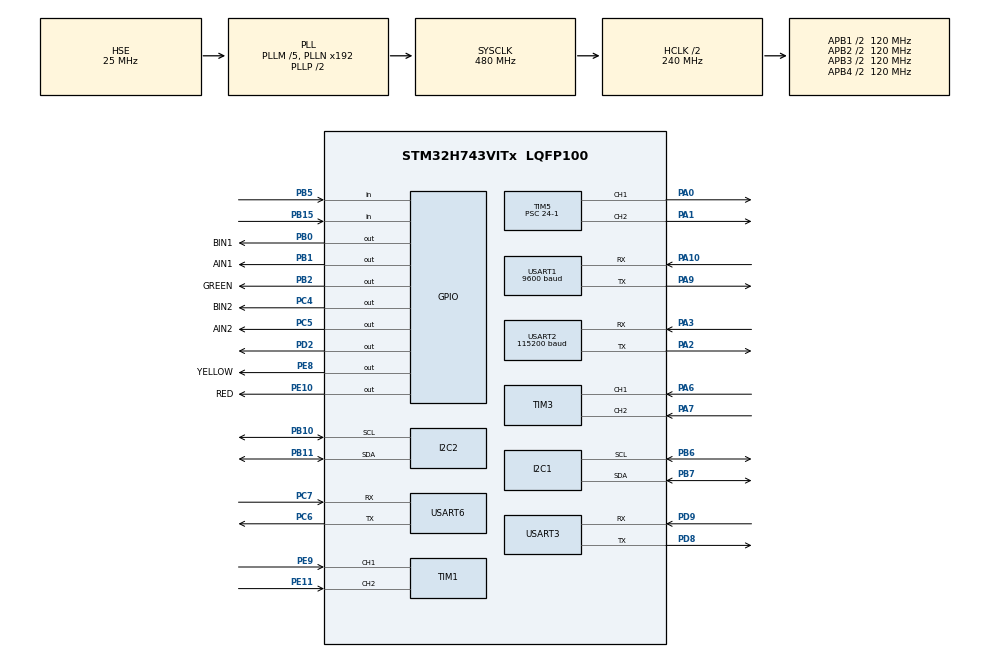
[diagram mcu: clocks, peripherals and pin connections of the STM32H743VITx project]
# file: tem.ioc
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CORTEX_M7.AccessPermission-Cortex_Memory_Protection_Unit_Region0_Settings=MPU_REGION_FULL_ACCESS
CORTEX_M7.AccessPermission-Cortex_Memory_Protection_Unit_Region1_Settings=MPU_REGION_FULL_ACCESS
CORTEX_M7.AccessPermission-Cortex_Memory_Protection_Unit_Region2_Settings=MPU_REGION_FULL_ACCESS
CORTEX_M7.AccessPermission-Cortex_Memory_Protection_Unit_Region3_Settings=MPU_REGION_FULL_ACCESS
CORTEX_M7.AccessPermission-Cortex_Memory_Protection_Unit_Region4_Settings=MPU_REGION_FULL_ACCESS
CORTEX_M7.BaseAddress-Cortex_Memory_Protection_Unit_Region0_Settings=0x24000000
CORTEX_M7.BaseAddress-Cortex_Memory_Protection_Unit_Region1_Settings=0x30000000
CORTEX_M7.BaseAddress-Cortex_Memory_Protection_Unit_Region2_Settings=0x30020000
CORTEX_M7.BaseAddress-Cortex_Memory_Protection_Unit_Region3_Settings=0x30040000
CORTEX_M7.BaseAddress-Cortex_Memory_Protection_Unit_Region4_Settings=0x38000000
CORTEX_M7.CPU_DCache=Enabled
CORTEX_M7.CPU_ICache=Enabled
CORTEX_M7.Enable-Cortex_Memory_Protection_Unit_Region0_Settings=MPU_REGION_ENABLE
CORTEX_M7.Enable-Cortex_Memory_Protection_Unit_Region1_Settings=MPU_REGION_ENABLE
CORTEX_M7.Enable-Cortex_Memory_Protection_Unit_Region2_Settings=MPU_REGION_ENABLE
CORTEX_M7.Enable-Cortex_Memory_Protection_Unit_Region3_Settings=MPU_REGION_ENABLE
CORTEX_M7.Enable-Cortex_Memory_Protection_Unit_Region4_Settings=MPU_REGION_ENABLE
CORTEX_M7.IsBufferable-Cortex_Memory_Protection_Unit_Region0_Settings=MPU_ACCESS_BUFFERABLE
CORTEX_M7.IsCacheable-Cortex_Memory_Protection_Unit_Region0_Settings=MPU_ACCESS_CACHEABLE
CORTEX_M7.MPU_Control=MPU_PRIVILEGED_DEFAULT
CORTEX_M7.Size-Cortex_Memory_Protection_Unit_Region0_Settings=MPU_REGION_SIZE_512KB
CORTEX_M7.Size-Cortex_Memory_Protection_Unit_Region1_Settings=MPU_REGION_SIZE_128KB
CORTEX_M7.Size-Cortex_Memory_Protection_Unit_Region2_Settings=MPU_REGION_SIZE_128KB
CORTEX_M7.Size-Cortex_Memory_Protection_Unit_Region3_Settings=MPU_REGION_SIZE_32KB
CORTEX_M7.Size-Cortex_Memory_Protection_Unit_Region4_Settings=MPU_REGION_SIZE_64KB
CORTEX_M7.TypeExtField-Cortex_Memory_Protection_Unit_Region0_Settings=MPU_TEX_LEVEL1
CORTEX_M7.TypeExtField-Cortex_Memory_Protection_Unit_Region1_Settings=MPU_TEX_LEVEL1
CORTEX_M7.TypeExtField-Cortex_Memory_Protection_Unit_Region2_Settings=MPU_TEX_LEVEL1
CORTEX_M7.TypeExtField-Cortex_Memory_Protection_Unit_Region3_Settings=MPU_TEX_LEVEL1
CORTEX_M7.TypeExtField-Cortex_Memory_Protection_Unit_Region4_Settings=MPU_TEX_LEVEL1
I2C1.Timing=0x307075B1
I2C2.Timing=0x307075B1
Mcu.Family=STM32H7
Mcu.Name=STM32H743VITx
Mcu.Package=LQFP100
NVIC.PriorityGroup=NVIC_PRIORITYGROUP_4
NVIC.TIM1_UP_IRQn=true\:0\:0\:false\:false\:true\:true\:true\:true
NVIC.TIM3_IRQn=true\:0\:0\:false\:false\:true\:true\:true\:true
NVIC.TIM7_IRQn=true\:0\:0\:false\:false\:true\:true\:true\:true
NVIC.USART1_IRQn=true\:0\:0\:false\:false\:true\:true\:true\:true
NVIC.USART2_IRQn=true\:0\:0\:false\:false\:true\:true\:true\:true
NVIC.USART3_IRQn=true\:0\:0\:false\:false\:true\:true\:true\:true
NVIC.USART6_IRQn=true\:0\:0\:false\:false\:true\:true\:true\:true
PA0.Signal=S_TIM5_CH1
PA1.Signal=S_TIM5_CH2
PA10.Mode=Asynchronous
PA10.Signal=USART1_RX
PA13\ (JTMS/SWDIO).Mode=Serial_Wire
PA13\ (JTMS/SWDIO).Signal=DEBUG_JTMS-SWDIO
PA14\ (JTCK/SWCLK).Mode=Serial_Wire
PA14\ (JTCK/SWCLK).Signal=DEBUG_JTCK-SWCLK
PA2.Mode=Asynchronous
PA2.Signal=USART2_TX
PA3.Mode=Asynchronous
PA3.Signal=USART2_RX
PA6.Signal=S_TIM3_CH1
PA7.Signal=S_TIM3_CH2
PA9.Mode=Asynchronous
PA9.Signal=USART1_TX
PB0.GPIO_Label=BIN1
PB0.Signal=GPIO_Output
PB1.GPIO_Label=AIN1
PB1.Signal=GPIO_Output
PB10.Mode=I2C
PB10.Signal=I2C2_SCL
PB11.Mode=I2C
PB11.Signal=I2C2_SDA
PB15.Signal=GPIO_Input
PB2.GPIO_Label=GREEN
PB2.Signal=GPIO_Output
PB5.Signal=GPIO_Input
PB6.Mode=I2C
PB6.Signal=I2C1_SCL
PB7.Mode=I2C
PB7.Signal=I2C1_SDA
PC4.GPIO_Label=BIN2
PC4.Signal=GPIO_Output
PC5.GPIO_Label=AIN2
PC5.Signal=GPIO_Output
PC6.Mode=Asynchronous
PC6.Signal=USART6_TX
PC7.Mode=Asynchronous
PC7.Signal=USART6_RX
PD2.Signal=GPIO_Output
PD8.Mode=Asynchronous
PD8.Signal=USART3_TX
PD9.Mode=Asynchronous
PD9.Signal=USART3_RX
PE10.GPIO_Label=RED
PE10.Signal=GPIO_Output
PE11.Signal=S_TIM1_CH2
PE8.GPIO_Label=YELLOW
PE8.Signal=GPIO_Output
PE9.Signal=S_TIM1_CH1
PH0-OSC_IN\ (PH0).Mode=HSE-External-Oscillator
PH0-OSC_IN\ (PH0).Signal=RCC_OSC_IN
PH1-OSC_OUT\ (PH1).Mode=HSE-External-Oscillator
PH1-OSC_OUT\ (PH1).Signal=RCC_OSC_OUT
ProjectManager.HeapSize=0x10000
ProjectManager.StackSize=0x7400
ProjectManager.TargetToolchain=MDK-ARM V5.32
RCC.ADCFreq_Value=50390625
RCC.APB1Freq_Value=120000000
RCC.APB2Freq_Value=120000000
RCC.APB3Freq_Value=120000000
RCC.APB4Freq_Value=120000000
RCC.CortexFreq_Value=480000000
RCC.D1PPRE=RCC_APB3_DIV2
RCC.D2PPRE1=RCC_APB1_DIV2
RCC.D2PPRE2=RCC_APB2_DIV2
RCC.D3PPRE=RCC_APB4_DIV2
RCC.DIVM1=5
RCC.DIVN1=192
RCC.HCLKFreq_Value=240000000
RCC.HPRE=RCC_HCLK_DIV2
RCC.HSE_VALUE=25000000
RCC.PLLSourceVirtual=RCC_PLLSOURCE_HSE
RCC.PWR_Regulator_Voltage_Scale=PWR_REGULATOR_VOLTAGE_SCALE0
RCC.ProductRev=revV
RCC.SYSCLKFreq_VALUE=480000000
RCC.SYSCLKSource=RCC_SYSCLKSOURCE_PLLCLK
RCC.USBFreq_Value=480000000
SH.S_TIM1_CH1.0=TIM1_CH1,Encoder_Interface
SH.S_TIM1_CH2.0=TIM1_CH2,Encoder_Interface
SH.S_TIM3_CH1.0=TIM3_CH1,Encoder_Interface
SH.S_TIM3_CH2.0=TIM3_CH2,Encoder_Interface
SH.S_TIM5_CH1.0=TIM5_CH1,PWM Generation1 CH1
SH.S_TIM5_CH2.0=TIM5_CH2,PWM Generation2 CH2
TIM5.Channel-PWM\ Generation1\ CH1=TIM_CHANNEL_1
TIM5.Channel-PWM\ Generation2\ CH2=TIM_CHANNEL_2
TIM5.Period=1000-1
TIM5.Prescaler=24-1
TIM6.Prescaler=240-1
TIM7.Prescaler=239
USART1.BaudRate=9600
USART1.VirtualMode-Asynchronous=VM_ASYNC
USART2.BaudRate=115200
USART2.VirtualMode-Asynchronous=VM_ASYNC
USART3.VirtualMode-Asynchronous=VM_ASYNC
USART6.VirtualMode=VM_ASYNC
VP_TIM5_VS_ClockSourceINT.Mode=Internal
VP_TIM6_VS_ClockSourceINT.Mode=Enable_Timer
VP_TIM7_VS_ClockSourceINT.Mode=Enable_Timer
board=custom

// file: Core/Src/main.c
/* USER CODE BEGIN Header */
/**
  ******************************************************************************
  * @file           : main.c
  * @brief          : Main program body
  ******************************************************************************
  * @attention
  *
  * Copyright (c) 2025 STMicroelectronics.
  * All rights reserved.
  *
  * This software is licensed under terms that can be found in the LICENSE file
  * in the root directory of this software component.
  * If no LICENSE file comes with this software, it is provided AS-IS.
  *
  ******************************************************************************
  */
/* USER CODE END Header */
#include "main.h"
#include "i2c.h"
#include "tim.h"
#include "usart.h"
#include "gpio.h"

/* USER CODE BEGIN Includes */
#include "AllHeader.h"
/* USER CODE END Includes */

/* USER CODE BEGIN PV */
//JY61Pďż??čşäťŞć°ćŽĺé
uint8_t GyroscopeUsart3RxBuffer[33];      //ćĽćśçźĺ­
double GyroscopeChannelData[10];
uint8_t tempBuffer=0,RxBuffer;
char message[256];
const float back_angle_cor = -1.6;//ďż˝ďż˝ďż˝Úžďż˝ďż˝ďż˝ďż˝ďż˝ďż˝ďż˝ďż˝Çľďż˝ĎľÍłďż˝ďż˝îŁŹďż˝ďż˝ďż˝ÇśČšďż˝ĐĄďż˝ďż˝ďż˝ďż˝Ęąďż˝ë˛ťďż˝ďż˝ďż˝ďż???
//ďż˝ďż˝ÎŞďż˝ďż˝ďż˝ďż˝ďż˝ďż˝ďż˝ďż˝ďż˝Ýąďż˝ďż˝ďż˝

/* USER CODE END PV */

void SystemClock_Config(void);
static void MPU_Initialize(void);
static void MPU_Config(void);

int main(void)
{

  /* Enable I-Cache---------------------------------------------------------*/
  SCB_EnableICache();

  /* Enable D-Cache---------------------------------------------------------*/
  SCB_EnableDCache();

  /* MCU Configuration--------------------------------------------------------*/

  /* Reset of all peripherals, Initializes the Flash interface and the Systick. */
  HAL_Init();

  /* MPU Configuration--------------------------------------------------------*/
  MPU_Config();

  /* Configure the system clock */
  SystemClock_Config();

  /* Initialize all configured peripherals */
  MX_GPIO_Init();
  MX_TIM7_Init();
  MX_USART1_UART_Init();
  MX_TIM1_Init();
  MX_TIM3_Init();
  MX_TIM5_Init();
  MX_TIM6_Init();
  MX_USART2_UART_Init();
  MX_USART3_UART_Init();
  MX_I2C1_Init();
  MX_USART6_UART_Init();
  MX_I2C2_Init();
  /* USER CODE BEGIN 2 */
	JY61P_Init(&huart2);
 	MECInit();
  uint32_t init_time = HAL_GetTick();
	//OLEDďż˝Äťďż˝ďż˝Ęźďż˝ďż???
	OLED_Init();
	OLED_Clear();
  float s =  0.0f;
  /* USER CODE END 2 */

  /* Infinite loop */
  /* USER CODE BEGIN WHILE */
  while (1)
  {
    UpdateData_Car(); // Update the car state with the latest sensor readings
    /* LSet(300);
    RSet(300);
    s += current_data.speed.linear_velocity * current_data.dt; // Update the distance traveled
    OLED_Clear(); // Clear the OLED display
  sprintf(message, "x: %.2f, y: %.2f, theta: %.2f, s: %.2f, v: %.2f, dt: %.2f",
          car.pose.x, car.pose.y, car.pose.theta);
  OLED_ShowString(0, 0, message, 8); // Display the car's pose on the OLED
 */
    if(runCircle(0.3, 0.3, 90, LEFT)) // Run a circle with radius 0.3m
     break; // Break the loop after running the circle
      HAL_Delay(5);
           /* float wz2 = getWz();
      sprintf(message, "yaw: %.2f, wz: %.2f, wz2: %.2f", current_data.yaw, current_data.speed.angular_velocity, wz2);
      OLED_ShowString(0, 0, message, 8); // Display the current yaw and angular velocity on the OLED

    /* USER CODE END WHILE */

    /* USER CODE BEGIN 3 */
	}
   sprintf(message, "x: %.2f, y: %.2f, theta: %.2f, s: %.2f, v: %.2f, dt: %.2f",
            car.pose.x, car.pose.y, car.pose.theta,
            s, current_data.speed.linear_velocity, current_data.dt);
          Break();
          OLED_ShowString(0, 0, message, 8); // Display the car's pose on the OLED

  /* USER CODE END 3 */
}

void SystemClock_Config(void)
{
  RCC_OscInitTypeDef RCC_OscInitStruct = {0};
  RCC_ClkInitTypeDef RCC_ClkInitStruct = {0};

  /** Supply configuration update enable
  */
  HAL_PWREx_ConfigSupply(PWR_LDO_SUPPLY);

  /** Configure the main internal regulator output voltage
  */
  __HAL_PWR_VOLTAGESCALING_CONFIG(PWR_REGULATOR_VOLTAGE_SCALE1);

  while(!__HAL_PWR_GET_FLAG(PWR_FLAG_VOSRDY)) {}

  __HAL_RCC_SYSCFG_CLK_ENABLE();
  __HAL_PWR_VOLTAGESCALING_CONFIG(PWR_REGULATOR_VOLTAGE_SCALE0);

  while(!__HAL_PWR_GET_FLAG(PWR_FLAG_VOSRDY)) {}

  /** Initializes the RCC Oscillators according to the specified parameters
  * in the RCC_OscInitTypeDef structure.
  */
  RCC_OscInitStruct.OscillatorType = RCC_OSCILLATORTYPE_HSE;
  RCC_OscInitStruct.HSEState = RCC_HSE_ON;
  RCC_OscInitStruct.PLL.PLLState = RCC_PLL_ON;
  RCC_OscInitStruct.PLL.PLLSource = RCC_PLLSOURCE_HSE;
  RCC_OscInitStruct.PLL.PLLM = 5;
  RCC_OscInitStruct.PLL.PLLN = 192;
  RCC_OscInitStruct.PLL.PLLP = 2;
  RCC_OscInitStruct.PLL.PLLQ = 2;
  RCC_OscInitStruct.PLL.PLLR = 2;
  RCC_OscInitStruct.PLL.PLLRGE = RCC_PLL1VCIRANGE_2;
  RCC_OscInitStruct.PLL.PLLVCOSEL = RCC_PLL1VCOWIDE;
  RCC_OscInitStruct.PLL.PLLFRACN = 0;
  if (HAL_RCC_OscConfig(&RCC_OscInitStruct) != HAL_OK)
  {
    Error_Handler();
  }

  /** Initializes the CPU, AHB and APB buses clocks
  */
  RCC_ClkInitStruct.ClockType = RCC_CLOCKTYPE_HCLK|RCC_CLOCKTYPE_SYSCLK
                              |RCC_CLOCKTYPE_PCLK1|RCC_CLOCKTYPE_PCLK2
                              |RCC_CLOCKTYPE_D3PCLK1|RCC_CLOCKTYPE_D1PCLK1;
  RCC_ClkInitStruct.SYSCLKSource = RCC_SYSCLKSOURCE_PLLCLK;
  RCC_ClkInitStruct.SYSCLKDivider = RCC_SYSCLK_DIV1;
  RCC_ClkInitStruct.AHBCLKDivider = RCC_HCLK_DIV2;
  RCC_ClkInitStruct.APB3CLKDivider = RCC_APB3_DIV2;
  RCC_ClkInitStruct.APB1CLKDivider = RCC_APB1_DIV2;
  RCC_ClkInitStruct.APB2CLKDivider = RCC_APB2_DIV2;
  RCC_ClkInitStruct.APB4CLKDivider = RCC_APB4_DIV2;

  if (HAL_RCC_ClockConfig(&RCC_ClkInitStruct, FLASH_LATENCY_4) != HAL_OK)
  {
    Error_Handler();
  }
}

/* USER CODE BEGIN 4 */
//ďż˝ďż˝ďż˝Ú¸ďż˝ďż˝ďż˝ďż˝ďż˝ďż˝ďż˝ďż˝ášŠ1usďż˝Äśďż˝Ęą
void delay_us_hal(uint16_t nus)
{
    __HAL_TIM_SET_COUNTER(&htim6, 0);
    HAL_TIM_Base_Start(&htim6);
    while (__HAL_TIM_GET_COUNTER(&htim6) < nus);
    HAL_TIM_Base_Stop(&htim6);
}

// ďż˝ďż˝Ęąďż˝ďż˝ďż˝ĐśĎťŘľďż˝ďż˝ďż˝ďż˝ďż˝ďż˝ďż˝ďż˝ďż˝ďż˝Ú¸ďż˝ďż˝Âąďż˝ďż˝ďż˝ďż˝ďż˝ďż˝Ůśďż˝
void HAL_TIM_PeriodElapsedCallback(TIM_HandleTypeDef *htim)
{
    // ďż˝ďż˝ďż˝ďż˝ďż˝ďż˝ďż˝Đąďż˝ďż˝ďż˝ďż˝ďż˝ďż˝ďż˝ďż˝Ůśďż˝ďż˝ďż˝ďż˝ďż˝
    UpdateAllSpeed(htim);
}

void HAL_UART_RxCpltCallback(UART_HandleTypeDef *huart) //ä¸­ć­ĺ¤çĺ˝ć°
{
  if(huart->Instance == USART2)
	{
		IT_JY61P();
	}
}

/* USER CODE END 4 */

/* MPU Configuration */

void MPU_Config(void)
{
  MPU_Region_InitTypeDef MPU_InitStruct = {0};

  /* Disables the MPU */
  HAL_MPU_Disable();

  /** Initializes and configures the Region and the memory to be protected
  */
  MPU_InitStruct.Enable = MPU_REGION_ENABLE;
  MPU_InitStruct.Number = MPU_REGION_NUMBER0;
  MPU_InitStruct.BaseAddress = 0x24000000;
  MPU_InitStruct.Size = MPU_REGION_SIZE_512KB;
  MPU_InitStruct.SubRegionDisable = 0x0;
  MPU_InitStruct.TypeExtField = MPU_TEX_LEVEL1;
  MPU_InitStruct.AccessPermission = MPU_REGION_FULL_ACCESS;
  MPU_InitStruct.DisableExec = MPU_INSTRUCTION_ACCESS_ENABLE;
  MPU_InitStruct.IsShareable = MPU_ACCESS_NOT_SHAREABLE;
  MPU_InitStruct.IsCacheable = MPU_ACCESS_CACHEABLE;
  MPU_InitStruct.IsBufferable = MPU_ACCESS_BUFFERABLE;

  HAL_MPU_ConfigRegion(&MPU_InitStruct);

  /** Initializes and configures the Region and the memory to be protected
  */
  MPU_InitStruct.Number = MPU_REGION_NUMBER1;
  MPU_InitStruct.BaseAddress = 0x30000000;
  MPU_InitStruct.Size = MPU_REGION_SIZE_128KB;
  MPU_InitStruct.IsCacheable = MPU_ACCESS_NOT_CACHEABLE;
  MPU_InitStruct.IsBufferable = MPU_ACCESS_NOT_BUFFERABLE;

  HAL_MPU_ConfigRegion(&MPU_InitStruct);

  /** Initializes and configures the Region and the memory to be protected
  */
  MPU_InitStruct.Number = MPU_REGION_NUMBER2;
  MPU_InitStruct.BaseAddress = 0x30020000;

  HAL_MPU_ConfigRegion(&MPU_InitStruct);

  /** Initializes and configures the Region and the memory to be protected
  */
  MPU_InitStruct.Number = MPU_REGION_NUMBER3;
  MPU_InitStruct.BaseAddress = 0x30040000;
  MPU_InitStruct.Size = MPU_REGION_SIZE_32KB;

  HAL_MPU_ConfigRegion(&MPU_InitStruct);

  /** Initializes and configures the Region and the memory to be protected
  */
  MPU_InitStruct.Number = MPU_REGION_NUMBER4;
  MPU_InitStruct.BaseAddress = 0x38000000;
  MPU_InitStruct.Size = MPU_REGION_SIZE_64KB;

  HAL_MPU_ConfigRegion(&MPU_InitStruct);
  /* Enables the MPU */
  HAL_MPU_Enable(MPU_PRIVILEGED_DEFAULT);

}

void Error_Handler(void)
{
  /* USER CODE BEGIN Error_Handler_Debug */
  /* User can add his own implementation to report the HAL error return state */
  error_handler(); // Call the error handler function to handle the error
  __disable_irq();
  while (1)
  {
  }
  /* USER CODE END Error_Handler_Debug */
}
